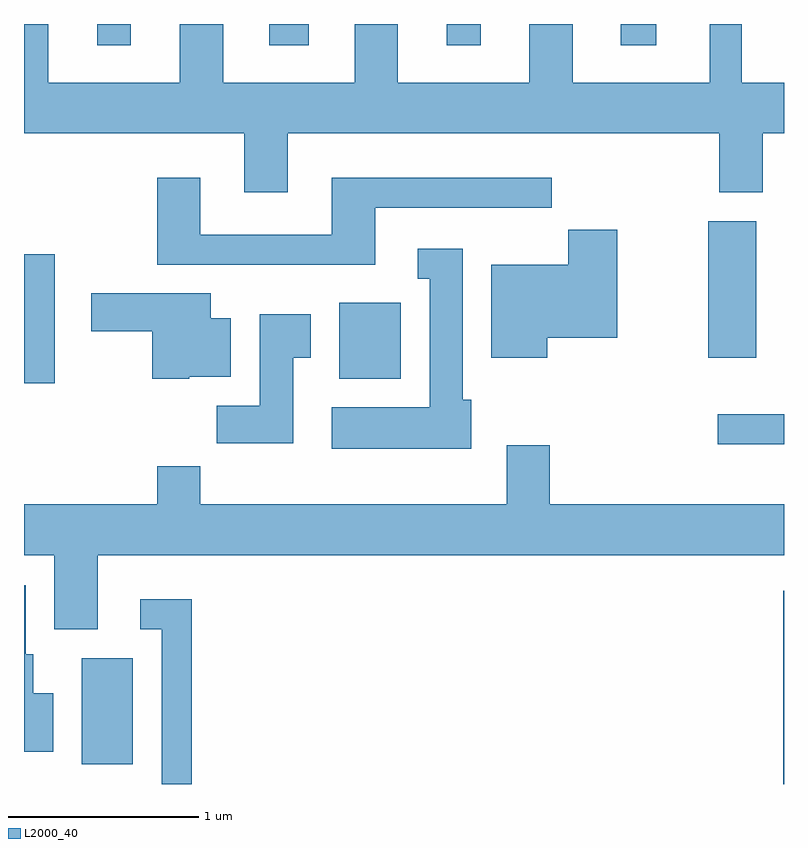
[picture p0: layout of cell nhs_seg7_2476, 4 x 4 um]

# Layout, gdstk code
import gdstk
lib = gdstk.Library(unit=1e-6, precision=1e-09)
def R(c, l, rs):  # rectangles x0, y0, x1, y1
    for r in rs: c.add(gdstk.rectangle(r[:2], r[2:], *l))
def P(c, l, *ps):  # polygons
    for p in ps: c.add(gdstk.Polygon(p, *l))
L2000_40 = (2000, 40)

nhs_seg7_2476 = lib.new_cell('nhs_seg7_2476')
R(nhs_seg7_2476, L2000_40, [(265.606,1684.252,265.611,1685.269), (261.916,1684.356,262.184,1684.914), (265.263,1686.041,265.611,1686.199), (261.611,1686.361,261.774,1687.039), (263.271,1686.386,263.594,1686.784), (265.211,1686.496,265.464,1687.214), (261.996,1688.141,262.174,1688.252), (262.901,1688.141,263.109,1688.252), (263.836,1688.141,264.014,1688.252), (264.751,1688.141,264.939,1688.252)])
P(nhs_seg7_2476, L2000_40, [(262.999,1687.676),(265.271,1687.676),(265.271,1687.366),(265.499,1687.366),(265.499,1687.676),(265.611,1687.676),(265.611,1687.944),(265.389,1687.944),(265.389,1688.252),(265.221,1688.252),(265.221,1687.944),(264.499,1687.944),(264.499,1688.252),(264.271,1688.252),(264.271,1687.944),(263.579,1687.944),(263.579,1688.252),(263.351,1688.252),(263.351,1687.944),(262.659,1687.944),(262.659,1688.252),(262.431,1688.252),(262.431,1687.944),(261.739,1687.944),(261.739,1688.252),(261.611,1688.252),(261.611,1687.676),(262.771,1687.676),(262.771,1687.366),(262.999,1687.366)],
  [(263.459,1687.286),(264.388,1687.286),(264.388,1687.444),(263.231,1687.444),(263.231,1687.144),(262.539,1687.144),(262.539,1687.444),(262.311,1687.444),(262.311,1686.986),(263.459,1686.986)],
  [(264.364,1686.601),(264.734,1686.601),(264.734,1687.169),(264.476,1687.169),(264.476,1686.984),(264.071,1686.984),(264.071,1686.496),(264.364,1686.496)],
  [(263.964,1686.274),(263.919,1686.274),(263.919,1687.069),(263.683,1687.069),(263.683,1686.911),(263.746,1686.911),(263.746,1686.234),(263.231,1686.234),(263.231,1686.016),(263.964,1686.016)],
  [(262.48,1686.396),(262.699,1686.396),(262.699,1686.704),(262.594,1686.704),(262.594,1686.834),(261.966,1686.834),(261.966,1686.636),(262.286,1686.636),(262.286,1686.386),(262.48,1686.386)],
  [(263.029,1686.496),(263.119,1686.496),(263.119,1686.724),(262.851,1686.724),(262.851,1686.244),(262.626,1686.244),(262.626,1686.046),(263.029,1686.046)],
  [(261.999,1685.456),(265.611,1685.456),(265.611,1685.724),(264.379,1685.724),(264.379,1686.034),(264.151,1686.034),(264.151,1685.724),(262.539,1685.724),(262.539,1685.924),(262.311,1685.924),(262.311,1685.724),(261.611,1685.724),(261.611,1685.456),(261.771,1685.456),(261.771,1685.066),(261.999,1685.066)],
  [(261.764,1684.729),(261.659,1684.729),(261.659,1684.934),(261.619,1684.934),(261.619,1685.299),(261.611,1685.299),(261.611,1684.421),(261.764,1684.421)],
  [(262.494,1685.224),(262.223,1685.224),(262.223,1685.066),(262.336,1685.066),(262.336,1684.252),(262.494,1684.252)])

lib.write_gds('nhs_seg7_2476.gds')
